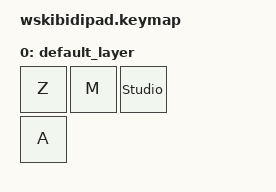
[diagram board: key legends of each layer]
#include <behaviors.dtsi>
#include <dt-bindings/zmk/keys.h>

/ {
    keymap {
        compatible = "zmk,keymap";

        default_layer { // Layer 0
            // -------------------------------------
            // |     Z     |     M     |     K     |
            // |     A     |
            bindings = <
                &kp Z    &kp M    &studio_unlock
                &kp A
            >;
        };
    };
 };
